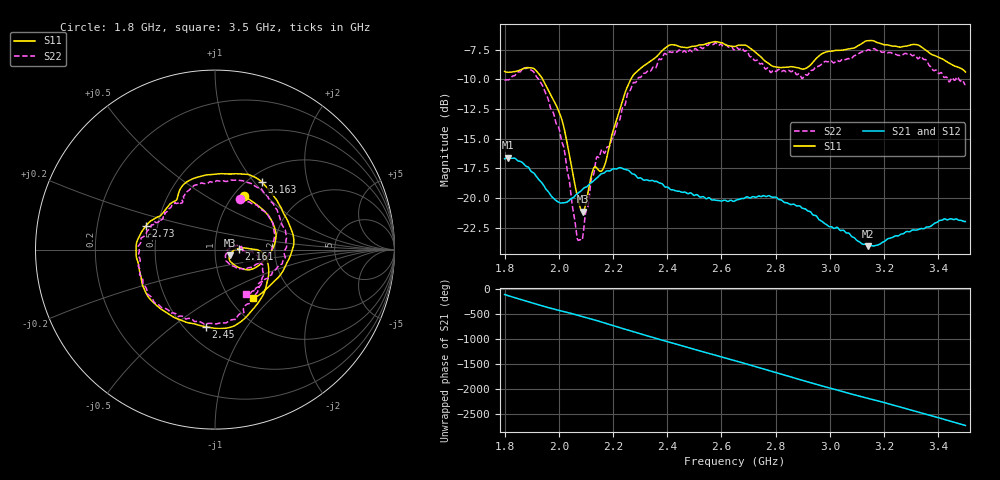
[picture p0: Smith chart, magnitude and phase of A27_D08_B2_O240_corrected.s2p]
! Created with skrf 1.9.0 (http://scikit-rf.org).
# Hz S RI R 50.0
!freq ReS11 ImS11 ReS21 ImS21 ReS12 ImS12 ReS22 ImS22
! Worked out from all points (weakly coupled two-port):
!   1601 points, 1.8 GHz to 3.5 GHz, reference 50 ohm
!   highest |S21| = -16.60 dB at 1.812 GHz (marker M1); lowest = -24.0 dB at 3.142 GHz (marker M2)
!   lowest |S11| = -21.1 dB at 2.089 GHz (marker M3), VSWR 1.19, Z = 58.8 - j3.7 ohm
!   |S11| at or under -10 dB: 1.941 GHz to 2.266 GHz (325 MHz wide, 15.5 % of centre)
!   |S22| runs from -23.5 to -6.9 dB; largest |S21 - S12| = 0.0028
!   S11 on the Smith chart (normalised r, x): 1.8 GHz: 1.12, +0.76; 2.161 GHz: 1.30, +0.01; 2.45 GHz: 0.63, -0.67; 2.73 GHz: 0.43, +0.14; 3.163 GHz: 1.16, +1.10; 3.5 GHz: 1.27, -0.77
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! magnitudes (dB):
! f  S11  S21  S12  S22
! 1.8 GHz  -9.3  -16.7  -16.7  -10.0
! 1.812 GHz  -9.4  -16.6  -16.6  -10.0
! 1.886 GHz  -9.0  -17.4  -17.4  -9.0
! 1.941 GHz  -10.0  -18.8  -18.8  -10.6
! 2.011 GHz  -13.4  -20.4  -20.4  -15.3
! 2.066 GHz  -19.6  -19.7  -19.7  -23.1
! 2.084 GHz  -21.1  -19.3  -19.3  -23.5
! 2.089 GHz  -21.1  -19.2  -19.3  -23.2
! 2.127 GHz  -17.5  -18.6  -18.6  -18.1
! 2.161 GHz  -17.6  -17.9  -17.9  -15.9
! 2.262 GHz  -10.2  -17.8  -17.8  -11.0
! 2.367 GHz  -7.9  -18.7  -18.6  -8.4
! 2.45 GHz  -7.3  -19.5  -19.5  -7.7
! 2.65 GHz  -7.2  -20.2  -20.2  -7.5
! 2.73 GHz  -7.8  -19.9  -19.9  -8.4
! 2.799 GHz  -8.9  -19.9  -19.9  -9.3
! 2.934 GHz  -8.7  -21.3  -21.3  -9.3
! 3.142 GHz  -6.8  -24.0  -23.9  -7.5
! 3.163 GHz  -6.8  -24.0  -24.0  -7.4
! 3.217 GHz  -7.1  -23.4  -23.4  -7.7
! 3.325 GHz  -7.1  -22.6  -22.6  -8.3
! 3.5 GHz  -9.4  -22.0  -22.0  -10.5
